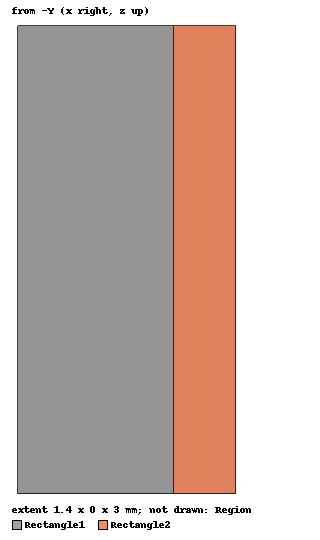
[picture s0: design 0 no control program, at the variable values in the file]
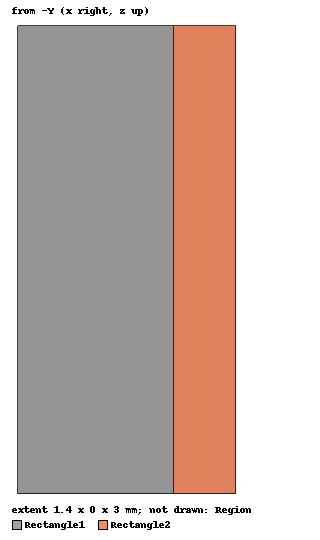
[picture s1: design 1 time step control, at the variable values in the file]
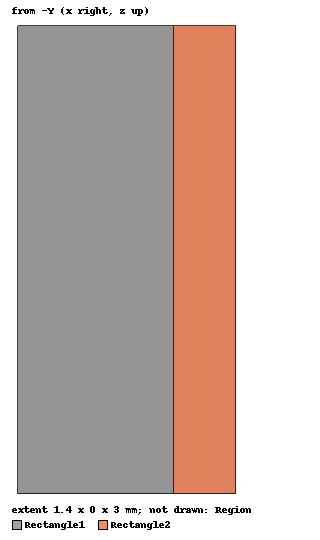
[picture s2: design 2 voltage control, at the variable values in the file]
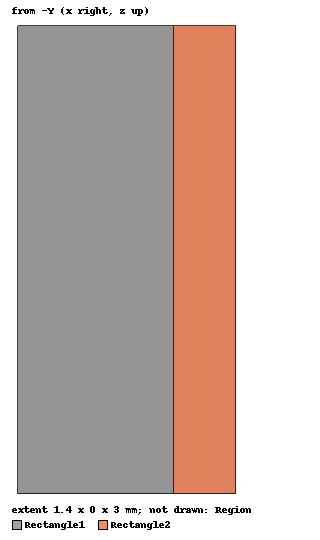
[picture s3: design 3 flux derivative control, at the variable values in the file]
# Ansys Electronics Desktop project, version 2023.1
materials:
  vacuum: permittivity=1
  copper: permeability=0.999991 conductivity=58000000
  steel_1008: permeability{HUnit=A_per_meter BUnit=tesla curve (0, 0) (159.2, 0.2402) (318.3, 0.8654) (477.5, 1.1106) (636.6, 1.2458) (795.8, 1.331) (1591.5, 1.5) (3183.1, 1.6) (4774.6, 1.683) (6366.2, 1.741) (7957.7, 1.78) (15915.5, 1.905) (31831, 2.025) (47746.5, 2.085) (63662, 2.13) (79577.5, 2.165) (159155, 2.28) (318310, 2.485) (397887, 2.5851)} conductivity=2000000

design 0 no control program (Maxwell 2D, Transient, about Z geometry, model units mm)
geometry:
  Rectangle1 [steel_1008] = rectangle(corner=(0mm, 0mm, 0mm), z_size=3mm, x_size=1mm)
  Rectangle2 [copper] = rectangle(corner=(1mm, 0mm, 3mm), z_size=-3mm, x_size=0.4mm)
  Region [vacuum] = region(percentage_offset: +X=400, -X=200, +Y=0, -Y=0, +Z=200, -Z=200)
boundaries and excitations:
  Balloon1: Balloon Edges=Region.edge(at (3.5, 0, 9), at (7, 0, 1.5), at (3.5, 0, -6))
  Rectangle2: Coil Objects=Rectangle2 Conductor_number=1 Winding=Winding1 PolarityType=Positive
  Winding1: Winding Group Type=Voltage IsSolid=false Current=0A Resistance=1mOhm Inductance=0nH Voltage=sin(2*pi*50*time) ParallelBranchesNum=1
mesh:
  steel: LengthBased RefineInside Objects=Rectangle1 MaxLength=0.2mm
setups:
  Setup1: Transient NonlinearSolverResidual=0.0001 StopTime=20ms TimeStep=1ms OutputPerObjectCoreLoss SaveFieldsType="Every N Steps" N_Steps=1 Steps_From=0s Steps_To=20ms NumberSolveSteps=1 RangeStart=0s RangeEnd=0.1s InitialTimeStep=0.002s MinTimeStep=0.001s MaxTimeStep=0.003s TimeStepErrTolerance=0.0001
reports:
  Winding Plot 1: InputVoltage(Winding1), FluxLinkage(Winding1), DeltaT vs Time on Setup1 : Transient

design 1 time step control (Maxwell 2D, Transient, about Z geometry, model units mm)
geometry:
  Rectangle1 [steel_1008] = rectangle(corner=(0mm, 0mm, 0mm), z_size=3mm, x_size=1mm)
  Rectangle2 [copper] = rectangle(corner=(1mm, 0mm, 3mm), z_size=-3mm, x_size=0.4mm)
  Region [vacuum] = region(percentage_offset: +X=400, -X=200, +Y=0, -Y=0, +Z=200, -Z=200)
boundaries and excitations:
  Balloon1: Balloon Edges=Region.edge(at (3.5, 0, 9), at (7, 0, 1.5), at (3.5, 0, -6))
  Rectangle2: Coil Objects=Rectangle2 Conductor_number=1 Winding=Winding1 PolarityType=Positive
  Winding1: Winding Group Type=Voltage IsSolid=false Current=0A Resistance=1mOhm Inductance=0nH Voltage=sin(2*pi*50*time) ParallelBranchesNum=1
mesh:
  steel: LengthBased RefineInside Objects=Rectangle1 MaxLength=0.2mm
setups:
  Setup1: Transient NonlinearSolverResidual=0.0001 StopTime=20ms TimeStep=1ms OutputPerObjectCoreLoss SaveFieldsType=Custom SweepRanges{0ms to 20ms step 1ms} NumberSolveSteps=1 RangeStart=0s RangeEnd=0.1s InitialTimeStep=0.002s MinTimeStep=0.001s MaxTimeStep=0.003s TimeStepErrTolerance=0.0001
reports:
  Winding Plot 1: InputVoltage(Winding1), FluxLinkage(Winding1), DeltaT vs Time on Setup1 : Transient

design 2 voltage control (Maxwell 2D, Transient, about Z geometry, model units mm)
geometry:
  Rectangle1 [steel_1008] = rectangle(corner=(0mm, 0mm, 0mm), z_size=3mm, x_size=1mm)
  Rectangle2 [copper] = rectangle(corner=(1mm, 0mm, 3mm), z_size=-3mm, x_size=0.4mm)
  Region [vacuum] = region(percentage_offset: +X=400, -X=200, +Y=0, -Y=0, +Z=200, -Z=200)
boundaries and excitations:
  Balloon1: Balloon Edges=Region.edge(at (3.5, 0, 9), at (7, 0, 1.5), at (3.5, 0, -6))
  Rectangle2: Coil Objects=Rectangle2 Conductor_number=1 Winding=Winding1 PolarityType=Positive
  Winding1: Winding Group Type=Voltage IsSolid=false Current=0A Resistance=1mOhm Inductance=0nH Voltage=sin(2*pi*50*time) ParallelBranchesNum=1
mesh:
  steel: LengthBased RefineInside Objects=Rectangle1 MaxLength=0.2mm
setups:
  Setup1: Transient NonlinearSolverResidual=0.0001 StopTime=20ms TimeStep=1ms OutputPerObjectCoreLoss SaveFieldsType="Every N Steps" N_Steps=1 Steps_From=0s Steps_To=20ms NumberSolveSteps=1 RangeStart=0s RangeEnd=0.1s InitialTimeStep=0.002s MinTimeStep=0.001s MaxTimeStep=0.003s TimeStepErrTolerance=0.0001
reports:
  Winding Plot 1: InputVoltage(Winding1), FluxLinkage(Winding1), DeltaT vs Time on Setup1 : Transient

design 3 flux derivative control (Maxwell 2D, Transient, about Z geometry, model units mm)
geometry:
  Rectangle1 [steel_1008] = rectangle(corner=(0mm, 0mm, 0mm), z_size=3mm, x_size=1mm)
  Rectangle2 [copper] = rectangle(corner=(1mm, 0mm, 3mm), z_size=-3mm, x_size=0.4mm)
  Region [vacuum] = region(percentage_offset: +X=400, -X=200, +Y=0, -Y=0, +Z=200, -Z=200)
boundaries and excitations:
  Balloon1: Balloon Edges=Region.edge(at (3.5, 0, 9), at (7, 0, 1.5), at (3.5, 0, -6))
  Rectangle2: Coil Objects=Rectangle2 Conductor_number=1 Winding=Winding1 PolarityType=Positive
  Winding1: Winding Group Type=Voltage IsSolid=false Current=0A Resistance=1mOhm Inductance=0nH Voltage=sin(2*pi*50*time) ParallelBranchesNum=1
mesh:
  steel: LengthBased RefineInside Objects=Rectangle1 MaxLength=0.2mm
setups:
  Setup1: Transient NonlinearSolverResidual=0.0001 StopTime=20ms TimeStep=1ms OutputPerObjectCoreLoss SaveFieldsType="Every N Steps" N_Steps=1 Steps_From=0s Steps_To=20ms NumberSolveSteps=1 RangeStart=0s RangeEnd=0.1s InitialTimeStep=0.002s MinTimeStep=0.001s MaxTimeStep=0.003s TimeStepErrTolerance=0.0001
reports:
  Winding Plot 1: InputVoltage(Winding1), FluxLinkage(Winding1), DeltaT vs Time on Setup1 : Transient
